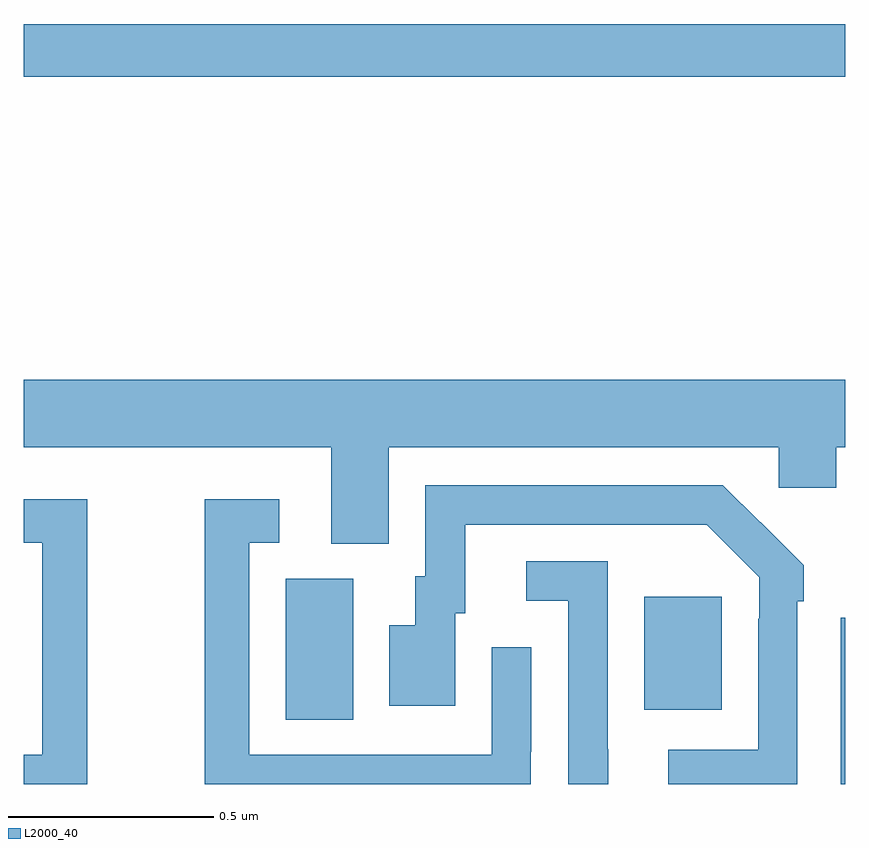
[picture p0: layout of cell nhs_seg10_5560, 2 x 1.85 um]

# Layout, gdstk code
import gdstk
lib = gdstk.Library(unit=1e-6, precision=1e-09)
def R(c, l, rs):  # rectangles x0, y0, x1, y1
    for r in rs: c.add(gdstk.rectangle(r[:2], r[2:], *l))
def P(c, l, *ps):  # polygons
    for p in ps: c.add(gdstk.Polygon(p, *l))
L2000_40 = (2000, 40)

nhs_seg10_5560 = lib.new_cell('nhs_seg10_5560')
R(nhs_seg10_5560, L2000_40, [(181.989,1295.5,182,1295.905), (180.638,1295.656,180.802,1296), (181.511,1295.681,181.699,1295.956), (180,1297.222,182,1297.351)])
P(nhs_seg10_5560, L2000_40, [(180.889,1296.32),(181.839,1296.32),(181.839,1296.222),(181.978,1296.222),(181.978,1296.32),(182,1296.32),(182,1296.484),(180,1296.484),(180,1296.32),(180.749,1296.32),(180.749,1296.085),(180.889,1296.085)],
  [(181.884,1295.945),(181.899,1295.945),(181.899,1296.033),(181.794,1296.138),(181.793,1296.137),(181.702,1296.228),(180.978,1296.228),(180.978,1296.006),(180.953,1296.006),(180.953,1295.887),(180.89,1295.887),(180.89,1295.691),(181.051,1295.691),(181.051,1295.916),(181.075,1295.916),(181.075,1296.132),(181.663,1296.132),(181.791,1296.003),(181.791,1295.903),(181.788,1295.903),(181.788,1295.583),(181.569,1295.583),(181.569,1295.5),(181.884,1295.5)],
  [(181.235,1295.578),(181.236,1295.578),(181.236,1295.833),(181.14,1295.833),(181.14,1295.571),(180.549,1295.571),(180.549,1296.087),(180.622,1296.087),(180.622,1296.193),(180.441,1296.193),(180.441,1295.5),(181.235,1295.5)],
  [(180.154,1296.193),(180,1296.193),(180,1296.087),(180.045,1296.087),(180.045,1295.571),(180,1295.571),(180,1295.5),(180.154,1295.5)],
  [(181.423,1295.585),(181.422,1295.585),(181.422,1296.042),(181.224,1296.042),(181.224,1295.946),(181.326,1295.946),(181.326,1295.5),(181.423,1295.5)])

lib.write_gds('nhs_seg10_5560.gds')
